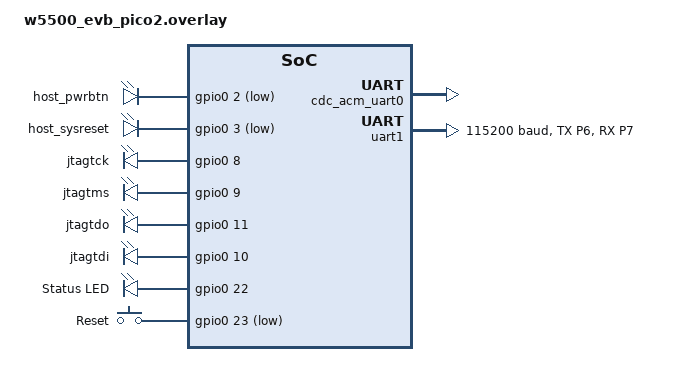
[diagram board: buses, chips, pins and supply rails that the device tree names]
/*
 * WallaBMC application overlay for the WIZnet W5500-EVB-Pico2 (RP2350A).
 *
 * Pin assignments (Pico header):
 *   UART0 (BMC console):  GP0 TX, GP1 RX
 *   UART1 (host console): GP6 TX, GP7 RX          (RP2350 UART1 alt func)
 *   Host power button:    GP2 (open-drain, active-low)
 *   Host system reset:    GP3 (open-drain, active-low)
 *   JTAG TCK:             GP8
 *   JTAG TMS:             GP9
 *   JTAG TDI:             GP10
 *   JTAG TDO:             GP11 (input, pull-up)
 *   Status LED:           GP22 (active-high)
 *   Reset button:         GP23 (active-low, external pull-up)
 *
 * W5500 Ethernet on SPI0:
 *   MISO = GP16, CS = GP17, SCK = GP18, MOSI = GP19
 *   W5500 INT = GP21, W5500 RST = GP20
 *   Onboard LED = GP25
 */

#include <zephyr/dt-bindings/gpio/gpio.h>
#include <zephyr/dt-bindings/input/input-event-codes.h>
#include <zephyr/dt-bindings/pinctrl/rpi-pico-rp2350a-pinctrl.h>

/ {
	chosen {
		zephyr,console = &cdc_acm_uart0;
		zephyr,shell-uart = &cdc_acm_uart0;
	};

	aliases {
		host-console-uart = &uart1;
		jtagtck = &jtagtck;
		jtagtms = &jtagtms;
		jtagtdi = &jtagtdi;
		jtagtdo = &jtagtdo;
		power-gpio-1 = &host_pwrbtn;
		reset-gpio-1 = &host_sysreset;
		status-led    = &status_led;
		reset-button  = &reset_button;
	};

	host_power {
		compatible = "gpio-leds";

		/*
		 * Open-drain active-low signals: the BMC only sinks current
		 * and lets the host motherboard provide the pull-up.
		 */
		host_pwrbtn: host_pwrbtn {
			gpios = <&gpio0 2 (GPIO_ACTIVE_LOW | GPIO_OPEN_DRAIN)>;
		};
		host_sysreset: host_sysreset {
			gpios = <&gpio0 3 (GPIO_ACTIVE_LOW | GPIO_OPEN_DRAIN)>;
		};
	};

	jtag {
		compatible = "gpio-leds";

		jtagtck: jtag_tck {
			gpios = <&gpio0 8 GPIO_ACTIVE_HIGH>;
		};
		jtagtms: jtag_tms {
			gpios = <&gpio0 9 GPIO_ACTIVE_HIGH>;
		};
		jtagtdo: jtag_tdo {
			gpios = <&gpio0 11 GPIO_PULL_UP>;
		};
		jtagtdi: jtag_tdi {
			gpios = <&gpio0 10 GPIO_ACTIVE_HIGH>;
		};
	};

	leds {
		compatible = "gpio-leds";

		status_led: led_1 {
			gpios = <&gpio0 22 GPIO_ACTIVE_HIGH>;
			label = "Status LED";
		};
	};

	gpio_keys {
		compatible = "gpio-keys";

		reset_button: button_0 {
			label = "Reset";
			gpios = <&gpio0 23 GPIO_ACTIVE_LOW>;
			zephyr,code = <INPUT_KEY_0>;
		};
	};
};

/* Storage partition will be added once MCUboot re-partitioning is sorted.
 * For now, the base DTS code_partition covers the entire flash (2 MB).
 */

/* BMC console over USB CDC ACM (virtual serial port) */
&zephyr_udc0 {
	cdc_acm_uart0: cdc_acm_uart0 {
		compatible = "zephyr,cdc-acm-uart";
	};
};

/* Host serial console on UART1 (GP6 TX, GP7 RX) */
&uart1 {
	current-speed = <115200>;
	status = "okay";
	pinctrl-0 = <&uart1_default>;
	pinctrl-names = "default";
};

/*
 * Add uart1_default pinctrl — the W5500-EVB-Pico2 base DTS only defines
 * uart0_default.  RP2350 UART1 alt function is on GP6/GP7.
 *
 * The rpi-pico-rp2350-pinctrl-common header uses the undefined constant
 * RP2_PINCTRL_GPIO_FUNC_UART_ALT in its UART1_TX_P6 / UART1_RX_P7 macros;
 * work around it by defining the constant here (value 11 = UART_AUX).
 */
#define RP2_PINCTRL_GPIO_FUNC_UART_ALT 11

&pinctrl {
	uart1_default: uart1_default {
		group1 {
			pinmux = <UART1_TX_P6>;
		};
		group2 {
			pinmux = <UART1_RX_P7>;
			input-enable;
		};
	};
};
